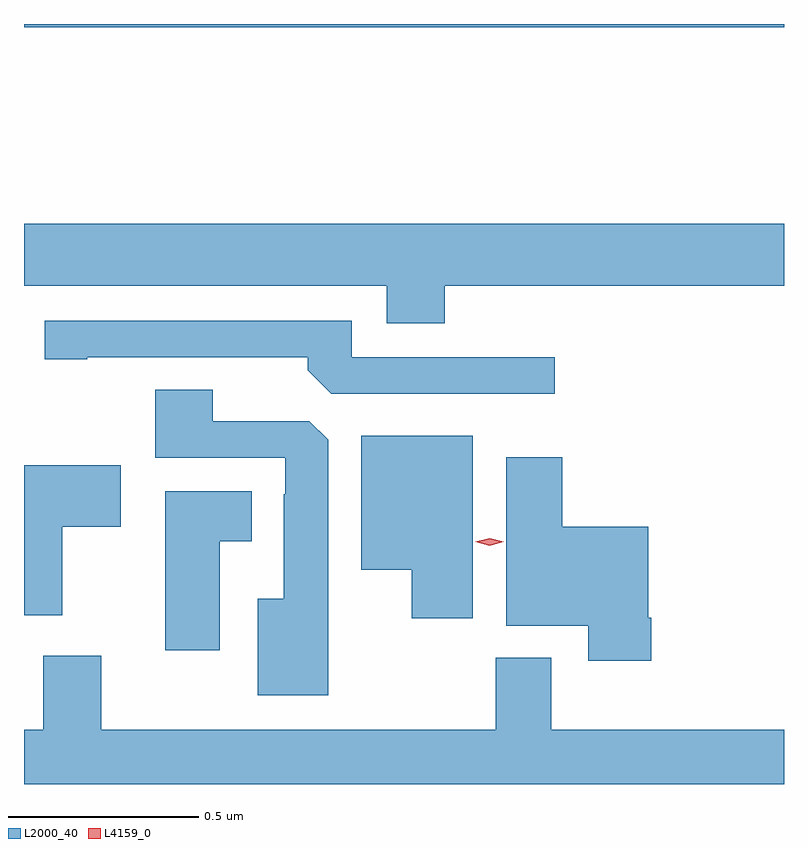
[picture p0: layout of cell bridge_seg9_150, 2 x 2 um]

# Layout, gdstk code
import gdstk
lib = gdstk.Library(unit=1e-6, precision=1e-09)
def R(c, l, rs):  # rectangles x0, y0, x1, y1
    for r in rs: c.add(gdstk.rectangle(r[:2], r[2:], *l))
def P(c, l, *ps):  # polygons
    for p in ps: c.add(gdstk.Polygon(p, *l))
L2000_40 = (2000, 40)
L4159_0 = (4159, 0)

bridge_seg9_150 = lib.new_cell('bridge_seg9_150')
R(bridge_seg9_150, L2000_40, [(570.563,1214.416,572.563,1214.425)])
P(bridge_seg9_150, L2000_40, [(571.67,1213.736),(572.563,1213.736),(572.563,1213.9),(570.563,1213.9),(570.563,1213.736),(571.517,1213.736),(571.517,1213.637),(571.67,1213.637)],
  [(571.96,1213.548),(571.425,1213.548),(571.425,1213.644),(570.618,1213.644),(570.618,1213.543),(570.73,1213.543),(570.73,1213.548),(571.31,1213.548),(571.31,1213.514),(571.371,1213.452),(571.96,1213.452)],
  [(571.363,1213.331),(571.314,1213.38),(571.06,1213.38),(571.06,1213.463),(570.908,1213.463),(570.908,1213.284),(571.251,1213.284),(571.251,1213.187),(571.247,1213.187),(571.247,1212.913),(571.178,1212.913),(571.178,1212.659),(571.363,1212.659)],
  [(571.744,1213.342),(571.451,1213.342),(571.451,1212.989),(571.583,1212.989),(571.583,1212.861),(571.744,1212.861)],
  [(572.214,1212.862),(572.206,1212.862),(572.206,1213.102),(571.979,1213.102),(571.979,1213.285),(571.832,1213.285),(571.832,1212.842),(572.048,1212.842),(572.048,1212.75),(572.214,1212.75)],
  [(570.664,1213.102),(570.817,1213.102),(570.817,1213.264),(570.563,1213.264),(570.563,1212.869),(570.664,1212.869)],
  [(571.078,1213.064),(571.162,1213.064),(571.162,1213.195),(570.935,1213.195),(570.935,1212.777),(571.078,1212.777)],
  [(572.563,1212.568),(571.951,1212.568),(571.951,1212.757),(571.804,1212.757),(571.804,1212.568),(570.766,1212.568),(570.766,1212.763),(570.614,1212.763),(570.614,1212.568),(570.563,1212.568),(570.563,1212.425),(572.563,1212.425)])
P(bridge_seg9_150, L4159_0, [(571.788,1213.052),(571.751,1213.063),(571.751,1213.063),(571.751,1213.063),(571.788,1213.072),(571.825,1213.062),(571.825,1213.062),(571.825,1213.062)])

lib.write_gds('bridge_seg9_150.gds')
